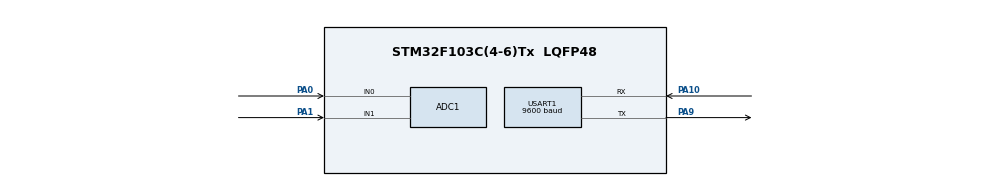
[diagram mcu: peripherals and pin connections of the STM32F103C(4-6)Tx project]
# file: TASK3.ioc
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ADC1.Channel-5\#ChannelRegularConversion=ADC_CHANNEL_0
ADC1.Channel-6\#ChannelRegularConversion=ADC_CHANNEL_1
ADC1.ContinuousConvMode=DISABLE
ADC1.DiscontinuousConvMode=ENABLE
ADC1.EnableRegularConversion=ENABLE
ADC1.ExternalTrigConv=ADC_SOFTWARE_START
ADC1.NbrOfConversion=2
ADC1.NbrOfConversionFlag=1
ADC1.Rank-5\#ChannelRegularConversion=1
ADC1.Rank-6\#ChannelRegularConversion=2
ADC1.SamplingTime-5\#ChannelRegularConversion=ADC_SAMPLETIME_28CYCLES_5
ADC1.SamplingTime-6\#ChannelRegularConversion=ADC_SAMPLETIME_28CYCLES_5
ADC1.master=1
Mcu.Family=STM32F1
Mcu.Name=STM32F103C(4-6)Tx
Mcu.Package=LQFP48
NVIC.PriorityGroup=NVIC_PRIORITYGROUP_4
PA0-WKUP.Signal=ADCx_IN0
PA1.Signal=ADCx_IN1
PA10.Mode=Asynchronous
PA10.Signal=USART1_RX
PA13.Mode=Serial_Wire
PA13.Signal=SYS_JTMS-SWDIO
PA14.Mode=Serial_Wire
PA14.Signal=SYS_JTCK-SWCLK
PA9.Mode=Asynchronous
PA9.Signal=USART1_TX
ProjectManager.HeapSize=0x200
ProjectManager.StackSize=0x400
ProjectManager.TargetToolchain=STM32CubeIDE
RCC.APB1Freq_Value=8000000
RCC.APB2Freq_Value=8000000
SH.ADCx_IN0.0=ADC1_IN0,IN0
SH.ADCx_IN1.0=ADC1_IN1,IN1
USART1.BaudRate=9600
USART1.VirtualMode=VM_ASYNC
board=custom

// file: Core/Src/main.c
/* USER CODE BEGIN Header */
/**
  ******************************************************************************
  * @file           : main.c
  * @brief          : Main program body
  ******************************************************************************
  * @attention
  *
  * Copyright (c) 2025 STMicroelectronics.
  * All rights reserved.
  *
  * This software is licensed under terms that can be found in the LICENSE file
  * in the root directory of this software component.
  * If no LICENSE file comes with this software, it is provided AS-IS.
  *
  ******************************************************************************
  */
/* USER CODE END Header */
#include "main.h"

/* USER CODE BEGIN Includes */
#include <string.h>
/* USER CODE END Includes */

ADC_HandleTypeDef hadc1;

UART_HandleTypeDef huart1;

void SystemClock_Config(void);
static void MX_GPIO_Init(void);
static void MX_ADC1_Init(void);
static void MX_USART1_UART_Init(void);

int main(void)
{

  /* MCU Configuration--------------------------------------------------------*/

  /* Reset of all peripherals, Initializes the Flash interface and the Systick. */
  HAL_Init();

  /* Configure the system clock */
  SystemClock_Config();

  /* Initialize all configured peripherals */
  MX_GPIO_Init();
  MX_ADC1_Init();
  MX_USART1_UART_Init();
  /* USER CODE BEGIN 2 */
  uint32_t adc_val[2];
  char msg[50];

  uint8_t x[] = "start\r\n";
  HAL_UART_Transmit(&huart1, x, sizeof(x)-1, HAL_MAX_DELAY);
  /* USER CODE END 2 */

  /* Infinite loop */
  /* USER CODE BEGIN WHILE */

  while (1)
  {
    HAL_ADC_Start(&hadc1);
    HAL_ADC_PollForConversion(&hadc1, HAL_MAX_DELAY);
    adc_val[0] = HAL_ADC_GetValue(&hadc1);

    HAL_Delay(100);

    HAL_ADC_Start(&hadc1);
    HAL_ADC_PollForConversion(&hadc1, HAL_MAX_DELAY);
    adc_val[1] = HAL_ADC_GetValue(&hadc1);

    HAL_ADC_Stop(&hadc1);

    sprintf(msg, "Temp: %lu | Throttle: %lu\r\n", adc_val[0] , adc_val[1]);
    HAL_UART_Transmit(&huart1, (uint8_t*)msg , strlen(msg) , HAL_MAX_DELAY);

    HAL_Delay(300);
    /* USER CODE END WHILE */

  }
}

void SystemClock_Config(void)
{
  RCC_OscInitTypeDef RCC_OscInitStruct = {0};
  RCC_ClkInitTypeDef RCC_ClkInitStruct = {0};
  RCC_PeriphCLKInitTypeDef PeriphClkInit = {0};

  /** Initializes the RCC Oscillators according to the specified parameters
  * in the RCC_OscInitTypeDef structure.
  */
  RCC_OscInitStruct.OscillatorType = RCC_OSCILLATORTYPE_HSI;
  RCC_OscInitStruct.HSIState = RCC_HSI_ON;
  RCC_OscInitStruct.HSICalibrationValue = RCC_HSICALIBRATION_DEFAULT;
  RCC_OscInitStruct.PLL.PLLState = RCC_PLL_NONE;
  if (HAL_RCC_OscConfig(&RCC_OscInitStruct) != HAL_OK)
  {
    Error_Handler();
  }

  /** Initializes the CPU, AHB and APB buses clocks
  */
  RCC_ClkInitStruct.ClockType = RCC_CLOCKTYPE_HCLK|RCC_CLOCKTYPE_SYSCLK
                              |RCC_CLOCKTYPE_PCLK1|RCC_CLOCKTYPE_PCLK2;
  RCC_ClkInitStruct.SYSCLKSource = RCC_SYSCLKSOURCE_HSI;
  RCC_ClkInitStruct.AHBCLKDivider = RCC_SYSCLK_DIV1;
  RCC_ClkInitStruct.APB1CLKDivider = RCC_HCLK_DIV1;
  RCC_ClkInitStruct.APB2CLKDivider = RCC_HCLK_DIV1;

  if (HAL_RCC_ClockConfig(&RCC_ClkInitStruct, FLASH_LATENCY_0) != HAL_OK)
  {
    Error_Handler();
  }
  PeriphClkInit.PeriphClockSelection = RCC_PERIPHCLK_ADC;
  PeriphClkInit.AdcClockSelection = RCC_ADCPCLK2_DIV2;
  if (HAL_RCCEx_PeriphCLKConfig(&PeriphClkInit) != HAL_OK)
  {
    Error_Handler();
  }
}

static void MX_ADC1_Init(void)
{

  ADC_ChannelConfTypeDef sConfig = {0};

  /** Common config
  */
  hadc1.Instance = ADC1;
  hadc1.Init.ScanConvMode = ADC_SCAN_ENABLE;
  hadc1.Init.ContinuousConvMode = DISABLE;
  hadc1.Init.DiscontinuousConvMode = ENABLE;
  hadc1.Init.NbrOfDiscConversion = 1;
  hadc1.Init.ExternalTrigConv = ADC_SOFTWARE_START;
  hadc1.Init.DataAlign = ADC_DATAALIGN_RIGHT;
  hadc1.Init.NbrOfConversion = 2;
  if (HAL_ADC_Init(&hadc1) != HAL_OK)
  {
    Error_Handler();
  }

  /** Configure Regular Channel
  */
  sConfig.Channel = ADC_CHANNEL_0;
  sConfig.Rank = ADC_REGULAR_RANK_1;
  sConfig.SamplingTime = ADC_SAMPLETIME_28CYCLES_5;
  if (HAL_ADC_ConfigChannel(&hadc1, &sConfig) != HAL_OK)
  {
    Error_Handler();
  }

  /** Configure Regular Channel
  */
  sConfig.Channel = ADC_CHANNEL_1;
  sConfig.Rank = ADC_REGULAR_RANK_2;
  if (HAL_ADC_ConfigChannel(&hadc1, &sConfig) != HAL_OK)
  {
    Error_Handler();
  }

}

static void MX_USART1_UART_Init(void)
{

  huart1.Instance = USART1;
  huart1.Init.BaudRate = 9600;
  huart1.Init.WordLength = UART_WORDLENGTH_8B;
  huart1.Init.StopBits = UART_STOPBITS_1;
  huart1.Init.Parity = UART_PARITY_NONE;
  huart1.Init.Mode = UART_MODE_TX_RX;
  huart1.Init.HwFlowCtl = UART_HWCONTROL_NONE;
  huart1.Init.OverSampling = UART_OVERSAMPLING_16;
  if (HAL_UART_Init(&huart1) != HAL_OK)
  {
    Error_Handler();
  }

}

static void MX_GPIO_Init(void)
{

  /* GPIO Ports Clock Enable */
  __HAL_RCC_GPIOA_CLK_ENABLE();

}

void Error_Handler(void)
{
  __disable_irq();
  while (1)
  {
  }
}
